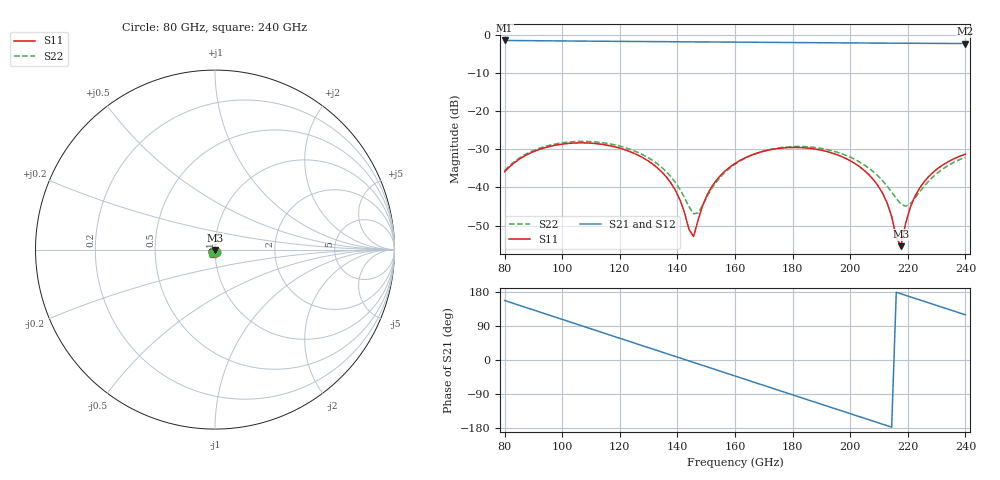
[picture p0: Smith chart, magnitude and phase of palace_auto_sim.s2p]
#  GHZ S DB R 50
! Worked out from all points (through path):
!   101 points, 80 GHz to 240 GHz, reference 50 ohm
!   highest |S21| = -1.40 dB at 80 GHz (marker M1); lowest = -2.2 dB at 240 GHz (marker M2)
!   group delay of S21, straight-line fit = 6.91 ps
!   lowest |S11| = -55.4 dB at 217.6 GHz (marker M3), VSWR 1.00, Z = 49.9 - j0.134 ohm
!   |S11| at or under -10 dB: start of sweep to end of sweep
!   |S22| runs from -46.9 to -27.9 dB; largest |S21 - S12| = 1.4e-13
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80  -35.88 -67.9  -1.40 157.0  -1.40 157.0  -35.59 -67.0
91.2  -30.25 -90.6  -1.47 129.1  -1.47 129.1  -29.96 -89.6
107.2  -28.29 -130.9  -1.57 89.2  -1.57 89.2  -27.91 -129.2
120  -29.69 -163.3  -1.64 57.4  -1.64 57.4  -29.14 -160.5
134.4  -35.80 163.2  -1.72 21.5  -1.72 21.5  -34.64 169.3
139.2  -40.60 156.5  -1.74 9.6  -1.74 9.6  -38.58 165.2
144  -50.97 -179.0  -1.76 -2.4  -1.76 -2.4  -45.01 -177.5
145.6  -52.90 -127.5  -1.77 -6.3  -1.77 -6.3  -46.93 -155.9
147.2  -48.54 -93.2  -1.78 -10.3  -1.78 -10.3  -46.69 -128.5
150.4  -41.85 -81.5  -1.79 -18.3  -1.79 -18.3  -42.24 -99.7
160  -33.69 -96.6  -1.84 -42.2  -1.84 -42.2  -33.90 -101.7
174.4  -29.83 -131.0  -1.92 -78.0  -1.92 -78.0  -29.71 -132.1
187.2  -29.85 -162.6  -1.99 -109.8  -1.99 -109.8  -29.46 -161.5
204.8  -35.48 156.0  -2.07 -153.4  -2.07 -153.4  -34.05 163.2
211.2  -41.46 145.5  -2.10 -169.3  -2.10 -169.3  -38.21 158.7
214.4  -47.65 149.1  -2.11 -177.2  -2.11 -177.2  -41.22 164.4
216  -53.06 167.6  -2.12 178.8  -2.12 178.8  -42.89 172.1
217.6  -55.42 -127.3  -2.12 174.8  -2.12 174.8  -44.32 -175.0
220.8  -45.37 -85.2  -2.13 166.9  -2.13 166.9  -44.31 -140.3
224  -40.30 -85.4  -2.15 158.9  -2.15 158.9  -41.28 -120.2
230.4  -35.02 -96.5  -2.17 143.0  -2.17 143.0  -36.13 -115.3
240  -31.27 -117.5  -2.21 119.2  -2.21 119.2  -32.09 -129.3
